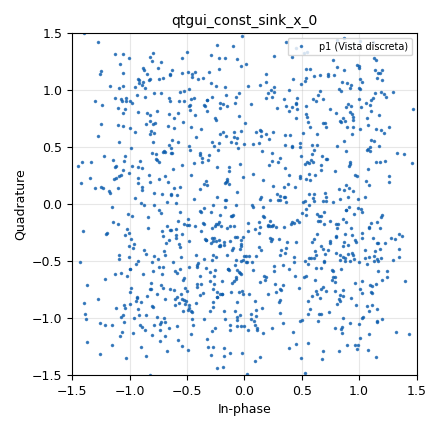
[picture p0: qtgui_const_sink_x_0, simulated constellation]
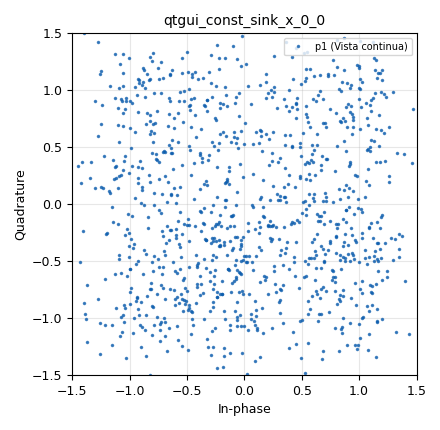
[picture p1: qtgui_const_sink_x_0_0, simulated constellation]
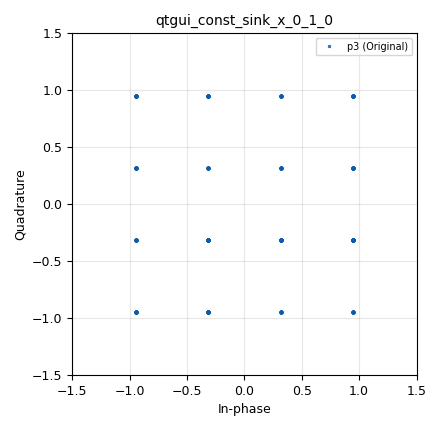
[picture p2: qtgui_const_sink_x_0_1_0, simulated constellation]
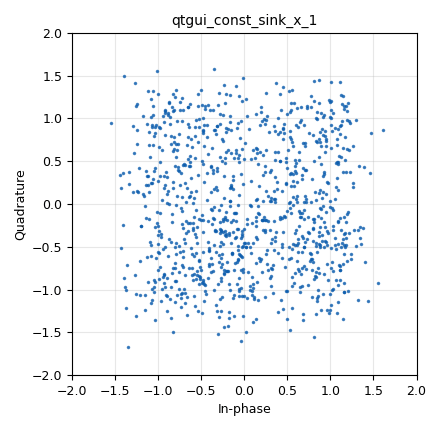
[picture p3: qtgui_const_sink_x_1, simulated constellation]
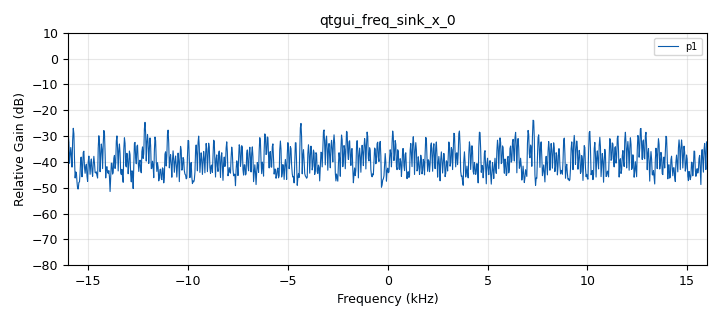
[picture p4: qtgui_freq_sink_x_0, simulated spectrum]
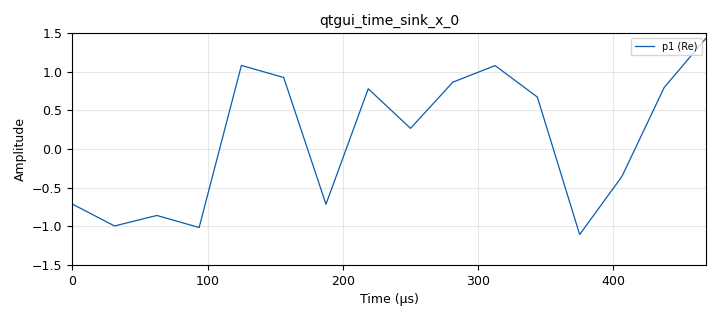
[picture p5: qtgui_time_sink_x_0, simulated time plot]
options:
  parameters:
    author: Homero Ortega Boada
    description: Lo máximo para practicar el tema de Filtro Coseno Alzado
    generate_options: qt_gui
    id: top_block
    output_language: python
    title: top_block
  states: {}

blocks:
- name: BW_filtro
  id: variable_qtgui_range
  parameters:
    gui_hint: 0,0,1,1
    start: '0'
    step: Fmax/100
    stop: Fmax
    value: Fmax
  states: {state: disabled}
- name: Delay_eye
  id: variable_qtgui_range
  parameters:
    gui_hint: 3,0,1,1
    label: Centering the Eye
    rangeType: int
    start: '0'
    step: '1'
    stop: Sps-1
    value: '0'
  states: {}
- name: EbN0max
  id: variable
  parameters:
    value: EsN0max-math.log10(bps)
  states: {}
- name: EbN0min
  id: variable
  parameters:
    value: EsN0min-math.log10(bps)
  states: {}
- name: EsN0max
  id: variable
  parameters:
    value: '25.'
  states: {}
- name: EsN0min
  id: variable
  parameters:
    value: '-5.'
  states: {}
- name: Fmax
  id: variable
  parameters:
    value: samp_rate/2
  states: {}
- name: M
  id: variable
  parameters:
    value: len(constelacion )
  states: {}
- name: MaxCount
  id: variable
  parameters:
    value: int(1e7)
  states: {state: disabled}
- name: MaxErrors
  id: variable
  parameters:
    value: '1000'
  states: {state: disabled}
- name: N_snr
  id: variable
  parameters:
    value: '16'
  states: {}
- name: Pn
  id: variable_qtgui_range
  parameters:
    gui_hint: 2,0,1,1
    label: Potencia del ruido
    start: '0'
    step: 1/100
    stop: '1'
    value: '0.05'
  states: {state: disabled}
- name: Rb
  id: variable
  parameters:
    value: Rs*bps
  states: {}
- name: Rs
  id: variable
  parameters:
    value: '32000'
  states: {}
- name: Sps
  id: variable
  parameters:
    value: '1'
  states: {}
- name: Timing
  id: variable_qtgui_range
  parameters:
    gui_hint: menu@4:1,0,1,1
    label: Timing
    rangeType: int
    start: '0'
    step: '1'
    stop: Sps-1
    value: '0'
  states: {state: disabled}
- name: beta
  id: variable_qtgui_range
  parameters:
    gui_hint: 1,0,1,1
    label: beta
    start: '0'
    step: 1/100
    stop: '1'
    value: '1'
  states: {state: disabled}
- name: bps
  id: variable
  parameters:
    value: int(math.log(M,2))
  states: {}
- name: constelacion
  id: variable
  parameters:
    value: digital.constellation_16qam().points()
  states: {}
- name: h
  id: variable
  parameters:
    value: '[1]*Sps'
  states: {state: disabled}
- name: h
  id: variable
  parameters:
    value: wform.rcos(Sps,ntaps,beta)
  states: {state: disabled}
- name: h
  id: variable
  parameters:
    value: wform.rrcos(Sps,ntaps,beta)
  states: {state: disabled}
- name: ntaps
  id: variable
  parameters:
    value: 16*Sps
  states: {}
- name: retardo_propag
  id: variable_qtgui_range
  parameters:
    gui_hint: menu@4:0,0,1,1
    label: retardo_propag
    rangeType: int
    start: '0'
    step: '1'
    stop: Sps*ntaps
    value: '0'
  states: {}
- name: samp_rate
  id: variable
  parameters:
    value: Rs*Sps
  states: {}
- name: E3TRadio_Zero_Order_Hold_0
  id: E3TRadio_Zero_Order_Hold
  parameters:
    k: bps
  states: {state: disabled}
- name: E3TRadio_e_BERtool_0_0
  id: E3TRadio_e_BERtool
  parameters:
    N: N_snr*bps
  states: {state: disabled}
- name: analog_random_source_x_0
  id: analog_random_source_x
  parameters:
    max: '2'
    min: '0'
    num_samps: '1000'
    repeat: 'True'
    type: byte
  states: {}
- name: b_demod_constelacion_cb_0
  id: b_demod_constelacion_cb
  parameters:
    Constelacion: constelacion
  states: {}
- name: b_diezmador_ff_0
  id: b_diezmador_ff
  parameters:
    Paso: bps
  states: {state: disabled}
- name: blocks_char_to_float_0
  id: blocks_char_to_float
  parameters:
    scale: '1'
  states: {}
- name: blocks_char_to_float_0_0
  id: blocks_char_to_float
  parameters:
    scale: '1'
  states: {}
- name: blocks_char_to_float_0_0_0
  id: blocks_char_to_float
  parameters:
    scale: '1'
  states: {}
- name: blocks_char_to_float_0_1
  id: blocks_char_to_float
  parameters:
    scale: '1'
  states: {}
- name: blocks_complex_to_float_0
  id: blocks_complex_to_float
  parameters: {}
  states: {}
- name: blocks_delay_1_0
  id: blocks_delay
  parameters:
    delay: retardo_propag
    type: complex
  states: {}
- name: blocks_delay_1_0_0
  id: blocks_delay
  parameters:
    delay: retardo_propag
    type: byte
  states: {}
- name: blocks_delay_1_0_0_0
  id: blocks_delay
  parameters:
    delay: retardo_propag*bps
    type: byte
  states: {}
- name: blocks_float_to_int_0
  id: blocks_float_to_int
  parameters:
    scale: '1'
  states: {state: disabled}
- name: blocks_int_to_float_0
  id: blocks_int_to_float
  parameters:
    scale: '1'
  states: {state: disabled}
- name: blocks_nlog10_ff_0_0
  id: blocks_nlog10_ff
  parameters:
    k: '0'
  states: {state: disabled}
- name: blocks_nlog10_ff_0_1
  id: blocks_nlog10_ff
  parameters:
    k: '0'
    n: '1'
    vlen: N_snr
  states: {}
- name: blocks_null_sink_0
  id: blocks_null_sink
  parameters:
    type: byte
  states: {}
- name: blocks_pack_k_bits_bb_0
  id: blocks_pack_k_bits_bb
  parameters:
    k: '8'
  states: {}
- name: blocks_packed_to_unpacked_xx_0
  id: blocks_packed_to_unpacked_xx
  parameters:
    bits_per_chunk: bps
    endianness: gr.GR_MSB_FIRST
    type: byte
  states: {}
- name: blocks_stream_to_vector_0_0
  id: blocks_stream_to_vector
  parameters:
    num_items: N_snr
    type: float
  states: {state: disabled}
- name: blocks_unpack_k_bits_bb_0
  id: blocks_unpack_k_bits_bb
  parameters:
    k: '8'
  states: {}
- name: blocks_unpacked_to_packed_xx_0
  id: blocks_unpacked_to_packed_xx
  parameters:
    bits_per_chunk: bps
    endianness: gr.GR_MSB_FIRST
    type: byte
  states: {}
- name: digital_chunks_to_symbols_xx_0
  id: digital_chunks_to_symbols_xx
  parameters:
    dimension: '1'
    in_type: byte
    out_type: complex
    symbol_table: constelacion
  states: {}
- name: epy_block_0
  id: epy_block
  parameters:
    _source_code: |
      import numpy as np
      from gnuradio import gr

      class inversedB(gr.sync_block):  

          def __init__(self, ): 
              gr.sync_block.__init__(
                  self,
                  name='e_inversedB_ff',
                  in_sig=[np.float32],
                  out_sig=[np.float32]
              )

          def work(self, input_items, output_items):
              x=input_items[0]
              y=output_items[0]
              y[:]=np.power(10,x)
              return len(y)
  states: {}
- name: epy_block_1
  id: epy_block
  parameters:
    B: Rs
    EsN0max: EsN0max
    EsN0min: EsN0min
    N: N_snr
    Rs: Rs
    _source_code: "import numpy\nimport numpy as np\nimport random\nimport math\nfrom gnuradio import gr\n\nclass e_canal_BER(gr.sync_block):\n    \"\"\"\nEs un canal AWGN (Additive White Gaussian Noise, en banda base), Recibe la envolvente compleja de una senal con modulacion digital. \nEl bloque tiene dos salidas: out0, out1. En out0 entrega la misma senal recibida pero con ruido blanco gausiano aditivo con \ndiferentes valores de potencia que corresponden a diferentes valores Es/No; en out1 entrega un valor de Es/No aplicado a cada muestra de out0. \nEste bloque se diferencia de otros bloques tradicionales de canal AWGN en lo siguiente: \n- Tiene internamente una funcion que mide la potencia promedio de la senal entrante Ps, de modo que puede calcular Es=Ps/Rs; \n- Al ir variando la potencia del ruido Pn se logra variar la relacion Es/No para que tome N posibles valores entre EsN0min y EsN0max. \n- Con eso ha completado el primer ensayo para que otro sea el bloque que calcule la Curva de BER. \n- Pero alli no para, sino que sigue realizando tantos ensayos como lo permita el tiempo de simulacion, para que el bloque que calcula la Curva de BER la pueda ir perfeccionando cada vez mas.\n\nDatos de configuracion del bloque:\nN: Es el numero de puntos discretos que va a tener la curva de BER. Tambien corresponde al numero de valores que tomará la relacion Es/No\nEsN0min: El minimo valor a tener en cuenta para Es/No\nEsN0max: El maximo valor a tener en cuenta para Es/No\nRs: es la rata de simbolos.\nB: Es una caracteristica de la senal entrante, corresponde a la frecuencia de muestreo de la señal entrante y puede ser mayor o igual a Rs. \nEs: es la energia de un simbolo\n\nSenales de entrada:\nIn0: Envolvente compleja de señal con modulacion digital.\n\nSenales de salida: \nout0: es la salida del canal, es decir, la misma señal entrante pero a la cual se le ha sumado un ruido para satisfacer una determinado valor para la relación Es/No\nout1: Es el valor Es/No aplicado a la salida actual. Pero ese valor es entregado de manera indirecta, en realidad out1 toma valores entre 0 y N-1.\n      Internamente hay un vector EsNodB que tiene N valores entre EsN0min y EsN0max. Entonces podemos hablar de EsNodB[0], EsNodB[1],.., EsNodB[N-1]\n      Pues bien, si out1=6, se refiere al sexto valor ede EsNodB, osea a EsNodB[6].\n\nAlgunas variables internas son:\nNo: es la Densidad espectral del potencia del ruido blanco.\nSNR-Db: es la relacion senal a ruido en dB\n\nNOTA IMPORTANTE: \n* Nos preguntamos si este bloque no deberia llamarse e_canal_BER, pues no maneja bits, ni relacion alguna con ellos, solo simbolos. El nombre mas apropiado seria e_canal_EsN0\n* Este bloque no conoce el numero de bits por simbolo, por lo tanto no puede determinar la relacion Eb/No y lo que calcula es la BER con respecto a Es/No.\n* La Envolvente compleja puede tener varias muestras por simbolo (Sps), por ejemplo cuando ha pasado por un bloque de Wave Forming, por ello SampRate puede ser mayor o igual a Rs. SampRate=Rs*Sps. El problema es que en este caso, la salida out0 tendra tambien Sps valores por simbolo, lo cual debe ser tenido en cuenta por los bloques que usen esta senal.\n* Es es calculado como: Es = Ps x Ts, donde Ps es la potencia promedio de la senal entrante (se mide internamente) y Ts es la duracion de cada simbolo o Ts = 1 / Rs. Entendemos que eso implica imaginar que los simbolos tienen forma rectangular, lo cual puede ser valido cuando la senal entrante trae modulacion digital basada en puntos de constelacion como es el caso de: BPSK, QPSK, MPSK, MQAM. En otras palabras, es una idealizacion pensada en una herramienta de analisis de Curvas de BER para comparar diferentes tipos de modulacion en condiciones similares.\n\nPARA CORREGIR: este bloque no debria llamarse e_canal_BER sino canal_BER_cc\n\"\"\"\n    def __init__(self, N=8, EsN0min=0, EsN0max=16,B=100,Rs=1):  # only default arguments here\n        gr.sync_block.__init__(\n        self,\n        name='e_EsNo_Channel',\n        in_sig=[np.complex64],\n        out_sig=[np.complex64, np.int32])\n\n        # Npoints: Numero de puntos de la curva de SER\n        # Ntrials: es un vector que contiene el numero de ensayos a aplicar\n        # a cada punto de la curva SER. Pero los ensayos no están dados en\n        # número de muestras sino en número de tramas de L muestras\n        # itrial: es el ensayo actual\n        # self.ipoint: el punto actual de la curva\n        # Calc_v: velocidad de calculo. Entre mas pequeno la curva de BER se vera cambiando de manera mas dinamica\n        # pero tendremos mayor desgaste de tiempo para obtener la curva final.\n        Calc_v=1.5\n        self.Npoints = N\n        self.B=B\n        self.Rs=Rs\n        self.EsN0dB=np.linspace(EsN0min,EsN0max,N)\n        self.Ntrials=np.round(np.power(Calc_v,np.arange(N)))\n        self.ipoint=0\n        self.itrial=0\n     \n    def work(self, input_items, output_items):\n\n        # calculo de la varianza (potencia promedio normalizada) de la senal entrante\n        L=len(input_items[0])\n        Pin=np.mean(np.absolute(input_items[0])**2)\n\n        ###############################################################  \n        ##  Aqui es donde esta el mehoyo y se puede optimizar mejor  ##\n        ##  Algo que se podria hacer es que le de mas atencion a los ## \n        ##  valores altos de Es/No que es donde es mas dificil de ob-##\n        ##  tener la BER. Al parecer la forma facil de hacerlo es    ##\n        ##  hacer que el vector EsN0dB vaya cambiando, ya que es     ##\n        ##  estatico y es el que define que valores de EsN0dB usar   ##\n        ## Nota: a veces se nos da por creer que debemos entregar un \n        ## vector o stream que lleva N muestras consecutivas, pero   ##\n        ## no es así, sino que cada muestra que sale lleva una espe- ##\n        ## de etiqueta que dice cual es su puesto dentro de los N    ##\n        ## valores discretos de la curva de BER, esa etiqueta es la  ##\n        ## sale por la salida out1, porque a cada muestra en out0,   ##\n        ## le corresponde una en out1.                               ##\n        ## Quizá necesitamos incluir un retardador para que si los   ##\n        ## bits han sufrido un retardo con respecto a la señal en el ##\n        ## canal esto sea tenido en cuenta.\n        ## Supongo que ya tenemos un valor fijo para L=N nos liberaremos\n        ## de los for e if de abajo                                  ##\n        ###############################################################\n\n        ##################################################################\n        ## En realidad lo unico que hay que hacer agregar ruido a la    ##\n        ## senal entrante para que salga por output_items[0] y poder    ##\n        ## indicar, por output_items[0], el punto de la curva que le    ##\n        ## corresponde                                                  ##\n        ##################################################################\n        output_items[0][:] = input_items[0]+vec_noise_c(L,self.EsN0dB[self.ipoint], Pin,self.Rs,self.B)\n        output_items[1][:] = [self.ipoint]*L # porque ipoint no ha cambiado en la trama L \n#        print(\"ipoint= \",self.ipoint)\n#        print(\"output1= \", output_items[1])\n\n        ##############################################################\n        ## seccion donde se programa el salto a un nivel mayor de   ##\n        ## ruido a inyectar a la señal                              ##\n        ##############################################################\n        # ya sabemos que los if no son deseables, pero tengase en cuenta\n        # que no lo estamos usando para cada muestra, sino para cada\n        # trama de L muestras. Podemos cambiarlo por while una vez pase\n        # todas las pruebas\n        if self.itrial < self.Ntrials[self.ipoint]-1: \n            self.itrial += 1\n        else:\n            # reseteamos el contador de ensayos interno. No nos importa\n            # porque nuestro bloque no calcula promedios, solo suma ruido\n            # y senala a que punto de la curva corresponde. Ahora pasamos\n            # al siguiente punto de la curva\n            self.itrial=0\n            if self.ipoint < self.Npoints-1:\n                self.ipoint += 1\n            else:\n                self.ipoint=0\n        return len(output_items[0])\n\n#############################################################################\n## calculo de una muestra de ruido\n## Rb: Rata de simbolos\n## B: Es el ancho de banda pasobanda que va a ocupar el ruido blanco, que no\n##    no es otra cosa que 2 veces el ancho de banda que tiene la envolvente\n##    compleja del ruido blanco que estamos generando. Estamos considerando que\n##    B es igual a la frecuencia de muestreo de la senal\n## N: es el numero de elementos en el vector\n## P_s: es la varianza (potencia promedio) de la senal entrante. \n## SNR_dB: es la relacion senal a ruido en dB del ruido respecto a P_signal\n#############################################################################\n\ndef vec_noise_c(N, EsN0_dB,P_s,Rs,B):\n\n    EsN0=pow(10.,EsN0_dB/10.) \n    SNR=EsN0*Rs/B\n    P_n = P_s/SNR  # la potencia del ruido\n    Vrms = math.sqrt(P_n)\n#    print(\"Vrms= \",Vrms)\n    # random.normal() pide la desviacion standard que es el mismo Valor RMS\n    # Vrms es el Valor RMS de la Envolvente compleja del ruido, pero la vamos\n    # a generar como un ruido real mas un ruido imaginario. Pero esas dos\n    # senales tienen un valor RMS un tanto diferente: Vrms_q=Vrms/math.sqrt(2.) \n    Vrms_q= [Vrms/math.sqrt(2.)]*N # Notese que Vrms_q es un vector\n    # print(\"Vrms_q= \",Vrms_q)\n    n=np.random.normal(0.,Vrms_q)+np.random.normal(0.,Vrms_q)*1.j\n    return n\n\n\n\n"
  states: {}
- name: epy_block_2
  id: epy_block
  parameters:
    N: N_snr
    _source_code: "import numpy as np\nimport random\nimport math\nimport numpy\nfrom gnuradio import gr\n\nclass e_BERtool(gr.sync_block):\n\n    \"\"\"\nCalcula la curva de SER (Symbol Error Ratio) o la Curva BER (Bit Error Ratio). Para lograrlo, por las 3 entradas in0, in1, in2 espera hasta que hallan llegado N muestras, con lo cual puede obtener una primera version de la curva de BER (o de SER) de N muestras. Esa curva de BER (o de SER) se va perfeccionando en el tiempo, ya que lo anterior se repite una y otra vez, tanto como lo permita el tiempo que dure corriendo el flujograma, con lo cual va recalculando la curva de BER (o de SER) para que sea cada vez mas perfecta. \n\nSenales de entrada:\nin0: El numero del punto de la BER que esta siendo atendido en el momento, el cual corresponde a un determinado valor de Es/No. Pero en realidad este bloque desconoce Es/No y solo le interesa conocer cual es el numero del punto a atender  \nin1: es la señal de bits (o de simbolos emitidos), osea, aquellos que están antes del canal\nin2: Es la señal de los bits recibidos (o de simbolos), después de pasar por un canal \n\nSenal de salida\nPuede ser vista como una senal que cada N muestras representa la actualizacion de la curva de BER. La idea es convertirla en un vector de N muestras y graficarla mediante algo asi como un \"QT GUI vector Sink\" \n\nNOTA IMPORTANTE:\n* El bloque e_canal_BER es el que se ha estado usando para generar la senal que entra por in0. Las limitaciones que eso genera son las siguientes:\n   ** El canal e_canal_BER esta pensado para llevar envolvente compleja, es decir simbolos. Por lo tanto, lo que realmente se está obteniendo en una Curva de SER. Convertir eso a Curva de BER puede que no sea tan facil, necesitaria no contar con que en in1 e in2 esten las senales de bits en vez de simbolos, sino que habria que ajustar la senal destinada a la entrada in0 para que hacer que por cada bit haya un valor de Es/No o de Eb/No\n   ** El bloque e_canal_BER lo que entrega es la relacion Es/No.\n   ** Convertir Es/No a Eb/No es posible pero como parte de un flujograma donde se conozca el numero de bits por simbolo (Bps), teniendo en cuenta que, en términos lineales, Eb=Es/Bps\n   ** La manera en que esta hecho el bloque e_canal_BER hace que si el numero de muestras por simbolo es mayor a 1 (Sps>1), la senal Es/No sale con Sps valores por simbolo. En ese caso se requeriria aplicar algun tipo de mejora ya que nuestro bloque supone que solo hay una muestra Es/No (o Es/No) por cada muestra de senal en in1 e in2.\n* las senales in1 y in2 pueden ser bits o simbolos. En el segundo caso es el que hemos usado mas, ya que las senales in1 e in2 son de tipo M-PAM. Por eso, lo que hemos estado calculando es Curva de SER. Se puede pasar facilmente a Curvas de BER, si a los bits se les aplica de-M-PAM.\n\nPARA CORREGIR: Este bloque no deberia llamarme e_BERtool, sino BERtool_if\n \n\"\"\"\n\n    ############################################################################################\n    ##  Constructor del bloque                                                                ##\n    ############################################################################################\n\n    def __init__(self, N=16):  \n        gr.sync_block.__init__(\n        self,\n        name='v_BERtool',\n        in_sig=[np.int32, np.int8, np.int8],\n        out_sig=[(np.float32,N)])\n\n        # N es el numero de puntos de la curva de SER a calcular\n        # self.errores = np.zeros(self.N)\n        # count: cuenta el numero de muestras que ya han sido procesadas para cada punto de la BER\n        # SER: es la memoria de la ultima curva calculada\n\n        # self.count=0. # DUDA: PARECE QUE HAY ERROR. DEBERIA HABER UN CONTADOR POR CADA k\n        # self.count=np.zeros(self.N)\n\n        self.N=N \n        self.errores = np.float64(np.ones(self.N))\n        self.count=np.uint64(np.ones(self.N))\n        #self.SER=np.ones(self.N)\n        self.SER=[1e-12]*N\n        #self.ipointi=0 \n\n    ############################################################################################\n    ##  Lo de arriba es solo el constructor del bloque). Aqui comienza el verdadero cdigo     ##\n    ############################################################################################\n\n    def work(self, input_items, output_items):\n        in0=input_items[1] \n        in1=input_items[2] \n        \n        # L: es el tamano del vector de entrada. \n        # i: es el punto actual de los datos entrantes\n        # ipoint: es el punto actual de la SER\n        # count: vector de contadores para cada punto de la curva\t\t\n        L=len(in0)\n\n        # Se recalcula la curva SER. \n        for i in range(0,L):\n            ipoint=input_items[0][i] \n            self.errores[ipoint] += int(in0[i]!=in1[i])\n            self.SER[ipoint]=self.errores[ipoint]/self.count[ipoint]\n            self.count[ipoint] = self.count[ipoint]+1\n\n        # La salida es simplemente la curva de SER\n        output_items[0][:]=self.SER\n        return len(output_items[0])\n\n"
  states: {}
- name: epy_block_4
  id: epy_block
  parameters:
    _source_code: "\"\"\"\nEmbedded Python Blocks:\n\nEach time this file is saved, GRC will instantiate the first class it finds\nto get ports and parameters of your block. The arguments to __init__  will\nbe the parameters. All of them are required to have default values!\n\"\"\"\n\nimport numpy as np\nfrom gnuradio import gr\n\n\nclass blk(gr.interp_block):\n    def __init__(self, k=2):  \n        gr.interp_block.__init__(\n            self,\n            name='e_zero_order_hold_ii',\n            in_sig=[np.int32],\n            out_sig=[np.int32], interp=k\n        )\n        self.k=k\n\n    def work(self, input_items, output_items):\n        in0 = input_items[0]\n        out = output_items[0]\n        j = 0\n        for i in range (len(in0)):\n            for x in range(self.k):\n                out[j] =  in0[i]\n                j += 1\n        return len(output_items[0])\n\n"
    k: bps
  states: {}
- name: fec_ber_bf_0
  id: fec_ber_bf
  parameters:
    test_mode: 'False'
  states: {}
- name: import_0
  id: import
  parameters:
    imports: import math
  states: {}
- name: import_0_0
  id: import
  parameters:
    imports: import random
  states: {}
- name: menu
  id: qtgui_tab_widget
  parameters:
    gui_hint: 4,0,1,1
    label0: Time
    label1: PSD
    label2: Eye Diagram
    label3: Constellation
    label4: Timing
    label5: M-PAM
    label6: Bits
    label7: BER SER Curve
    num_tabs: '8'
  states: {}
- name: qtgui_const_sink_x_0
  id: qtgui_const_sink_x
  parameters:
    gui_hint: menu@3:0,0,1,1
    label1: p1 (Vista discreta)
    size: '1024'
    type: complex
    xmax: '1.5'
    xmin: '-1.5'
    ymax: '1.5'
    ymin: '-1.5'
  states: {}
- name: qtgui_const_sink_x_0_0
  id: qtgui_const_sink_x
  parameters:
    color1: '"magenta"'
    gui_hint: menu@3:0,1,1,1
    label1: p1 (Vista continua)
    marker1: '-1'
    size: '1024'
    style1: '1'
    type: complex
    width1: '3'
    xmax: '1.5'
    xmin: '-1.5'
    ymax: '1.5'
    ymin: '-1.5'
  states: {}
- name: qtgui_const_sink_x_0_1_0
  id: qtgui_const_sink_x
  parameters:
    gui_hint: menu@3:1,1,1,1
    label1: p3 (Original)
    size: '1024'
    type: complex
    xmax: '1.5'
    xmin: '-1.5'
    ymax: '1.5'
    ymin: '-1.5'
  states: {}
- name: qtgui_const_sink_x_1
  id: qtgui_const_sink_x
  parameters:
    gui_hint: menu@4:2,0,1,1
    size: '1024'
    type: complex
  states: {}
- name: qtgui_freq_sink_x_0
  id: qtgui_freq_sink_x
  parameters:
    average: '0.05'
    bw: samp_rate
    fc: '0'
    fftsize: '1024'
    gui_hint: menu@1:0,0,1,1
    label1: p1
    type: complex
    width1: '3'
    ymin: '-80'
  states: {}
- name: qtgui_number_sink_0
  id: qtgui_number_sink
  parameters:
    graph_type: qtgui.NUM_GRAPH_HORIZ
    gui_hint: menu@6:1,0,1,1
    name: BER
    type: float
  states: {}
- name: qtgui_time_sink_x_0
  id: qtgui_time_sink_x
  parameters:
    gui_hint: menu@0:1,0,1,1
    label1: p1 (Re)
    size: 16*Sps
    srate: samp_rate
    type: float
    width1: '3'
    ymax: '1.5'
    ymin: '-1.5'
  states: {}
- name: qtgui_time_sink_x_0_0
  id: qtgui_time_sink_x
  parameters:
    color1: red
    gui_hint: menu@0:2,0,1,1
    label1: p1 (Im)
    size: 16*Sps
    srate: samp_rate
    type: float
    width1: '3'
    ymax: '1.5'
    ymin: '-1.5'
  states: {}
- name: qtgui_time_sink_x_1
  id: qtgui_time_sink_x
  parameters:
    color3: magenta
    gui_hint: menu@4:3,0,1,2
    label1: t3 (RE)
    label2: t3 (Im)
    label3: r3 (Re)
    label4: r3 (Im)
    marker1: '0'
    marker2: '0'
    marker3: '0'
    marker4: '0'
    nconnections: '2'
    size: '32'
    srate: Rs
    stemplot: 'True'
    type: complex
    width1: '3'
    width2: '3'
    width3: '3'
    width4: '3'
    ymax: '1.5'
    ymin: '-1.5'
  states: {}
- name: qtgui_time_sink_x_2
  id: qtgui_time_sink_x
  parameters:
    gui_hint: menu@5:4,0,1,1
    label1: t4
    label2: r4
    marker1: '0'
    marker2: '0'
    nconnections: '2'
    size: '32'
    srate: Rs
    stemplot: 'True'
    type: float
    width1: '3'
    width2: '3'
    ymax: M
  states: {}
- name: qtgui_time_sink_x_2_0
  id: qtgui_time_sink_x
  parameters:
    gui_hint: menu@6:4,0,1,1
    label1: t4
    label2: r4
    marker1: '0'
    marker2: '0'
    nconnections: '2'
    size: 32*bps
    srate: Rb
    stemplot: 'True'
    type: float
    width1: '3'
    width2: '3'
    ymax: '1.5'
    ymin: '-0.5'
  states: {}
- name: qtgui_vector_sink_f_0_0
  id: qtgui_vector_sink_f
  parameters:
    alpha1: '1'
    gui_hint: menu@7:1,0,1,1
    label1: '"SER"'
    name: '"Curva de BER"'
    showports: 'True'
    vlen: N_snr
    width1: '4'
    x_axis_label: '"Eb/N0 [dB]"'
    x_start: EbN0min
    x_step: (EbN0max-EbN0min)/float(N_snr)
    x_units: '"dB"'
    y_axis_label: '"logPe"'
    ymax: '0'
    ymin: '-8'
  states: {}
- name: virtual_sink_0
  id: virtual_sink
  parameters:
    stream_id: p1
  states: {}
- name: virtual_sink_0_0_0
  id: virtual_sink
  parameters:
    stream_id: t3
  states: {}
- name: virtual_sink_0_0_0_0
  id: virtual_sink
  parameters:
    stream_id: r3
  states: {}
- name: virtual_sink_0_0_0_0_0
  id: virtual_sink
  parameters:
    stream_id: r4
  states: {}
- name: virtual_sink_0_0_0_0_0_0
  id: virtual_sink
  parameters:
    stream_id: r5
  states: {}
- name: virtual_sink_0_0_0_0_0_1
  id: virtual_sink
  parameters:
    stream_id: r4a
  states: {}
- name: virtual_sink_0_0_0_1
  id: virtual_sink
  parameters:
    stream_id: t4
  states: {}
- name: virtual_sink_0_0_0_1_0
  id: virtual_sink
  parameters:
    stream_id: t5
  states: {}
- name: virtual_sink_0_0_0_1_1
  id: virtual_sink
  parameters:
    stream_id: t4a
  states: {}
- name: virtual_source_0
  id: virtual_source
  parameters:
    stream_id: p1
  states: {}
- name: virtual_source_0_0_0
  id: virtual_source
  parameters:
    stream_id: t3
  states: {}
- name: virtual_source_0_0_0_0
  id: virtual_source
  parameters:
    stream_id: t4
  states: {}
- name: virtual_source_0_0_0_0_0
  id: virtual_source
  parameters:
    stream_id: r4
  states: {}
- name: virtual_source_0_0_0_0_0_0
  id: virtual_source
  parameters:
    stream_id: r5
  states: {}
- name: virtual_source_0_0_0_0_0_1
  id: virtual_source
  parameters:
    stream_id: p3
  states: {}
- name: virtual_source_0_0_0_0_0_1_0
  id: virtual_source
  parameters:
    stream_id: p3
  states: {state: disabled}
- name: virtual_source_0_0_0_0_1
  id: virtual_source
  parameters:
    stream_id: t5
  states: {}
- name: virtual_source_0_0_0_0_3
  id: virtual_source
  parameters:
    stream_id: r5
  states: {}
- name: virtual_source_0_0_0_0_3_0
  id: virtual_source
  parameters:
    stream_id: r5
  states: {state: disabled}
- name: virtual_source_0_1_0
  id: virtual_source
  parameters:
    stream_id: t3
  states: {}
- name: virtual_source_0_1_0_0
  id: virtual_source
  parameters:
    stream_id: r3
  states: {}
- name: virtual_source_0_1_0_3
  id: virtual_source
  parameters:
    stream_id: t5
  states: {}
- name: virtual_source_0_1_0_3_0
  id: virtual_source
  parameters:
    stream_id: t5
  states: {state: disabled}
- name: vs0_1_0
  id: virtual_sink
  parameters:
    stream_id: p3
  states: {}
- name: wform
  id: epy_module
  parameters:
    source_code: |
      import math
      import numpy
      #######################################################
      ##        Hecho por Homero Ortega Boada              ##
      ##        comdiguis@saber.uis.edu.co                 ##
      ##     Universidad Industrial de Santander           ##
      #######################################################

      #######################################################
      ##               Forma rectangular                   ##
      #######################################################                       
      def rect(Sps):
          return Sps*[1.,]

      #######################################################
      ##               Forma de Nyquist                    ##
      #######################################################                       
      def nyq(Sps,ntaps):
          n=numpy.linspace(-int(ntaps/2), int(ntaps/2-1),ntaps)
          h=numpy.sinc(n/Sps)
      #    return h/numpy.amax(h)
          return h
      #######################################################
      ##               Forma Coseno Alzado                 ##
      #######################################################                       
      def rcos(Sps,ntaps,beta):
          if beta==0:
              h=nyq(Sps,ntaps)
          else:
              h=ntaps*[0,]
              for n in range(ntaps):
                  k=n-ntaps/2. # esto es para que h[n] quede centrada en la mitad del vector
                  if abs(k)==Sps/(2.*beta):
                      h[n]=numpy.sinc(1./(2.*beta))*math.pi/4.
                  else:
                      h[n]=numpy.sinc(k/Sps)*math.cos(beta*k*math.pi/Sps)/(1.-(2.*beta*k/Sps)**2)                
          Amp=numpy.amax(h)
          return h/Amp
      #######################################################
      ##            Forma Raiz de Coseno Alzado            ##
      #######################################################                       

      def rrcos(Sps,ntaps,beta):
          if beta==0:
              h=nyq(Sps,ntaps)
          else:
              h=ntaps*[0,]
              beta4=4.*beta
              for n in range(ntaps):
                  k=n-ntaps/2. # esto es para que h[n] quede centrada en la mitad del vector
                  if k==0:
                      h[n]=1+beta*(4./math.pi-1.)
                  elif abs(k)==Sps/beta4:
                      ha=(1.+2./math.pi)*math.sin(math.pi/beta4)
                      hb=(1.-2./math.pi)*math.cos(math.pi/beta4)
                      h[n]=(ha+hb)*beta/math.sqrt(2.)
                  else:
                      ks=k/Sps
                      kspi=math.pi*ks
                      Num=math.sin(kspi*(1-beta))+beta4*ks*math.cos(kspi*(1+beta))
                      Den=kspi*(1.-(beta4*ks)**2)
                      h[n]=Num/Den                
          Amp=numpy.amax(h)
          return h/Amp
      ########################################################
      ##     Bipolar non return to zero level signal        ##
      ########################################################
      def B_NRZ_L(Sps):
          return Sps*[1.,]

      ########################################################
      ##  Forma sinc . Es la misma nyq() que aparece arriba ##
      ########################################################
      def sinc(Sps,ntaps):
          n=np.linspace(-int(ntaps/2), int(ntaps/2-1),ntaps)
          h=np.sinc(n/Sps)
          return h
      ########################################################
      ##              forma diente se sierra                ##
      ########################################################
      def saw(Sps):
          return np.linspace(0,Sps-1,Sps)	
      ########################################################
      #         Bipolar non return to zero signal           ##
      ########################################################
      def RZ(Sps):
          h=Sps*[1.,]
          Sps_m=int(Sps/2)
          h[Sps_m+1:Sps:1]=np.zeros(Sps-Sps_m)
          return h
  states: {state: disabled}

connections:
- [E3TRadio_Zero_Order_Hold_0, '0', blocks_float_to_int_0, '0']
- [E3TRadio_e_BERtool_0_0, '0', b_diezmador_ff_0, '0']
- [analog_random_source_x_0, '0', blocks_pack_k_bits_bb_0, '0']
- [analog_random_source_x_0, '0', virtual_sink_0_0_0_1_0, '0']
- [b_demod_constelacion_cb_0, '0', blocks_unpacked_to_packed_xx_0, '0']
- [b_demod_constelacion_cb_0, '0', virtual_sink_0_0_0_0_0, '0']
- [b_diezmador_ff_0, '0', blocks_nlog10_ff_0_0, '0']
- [blocks_char_to_float_0, '0', qtgui_time_sink_x_2, '0']
- [blocks_char_to_float_0_0, '0', qtgui_time_sink_x_2, '1']
- [blocks_char_to_float_0_0_0, '0', qtgui_time_sink_x_2_0, '1']
- [blocks_char_to_float_0_1, '0', qtgui_time_sink_x_2_0, '0']
- [blocks_complex_to_float_0, '0', qtgui_time_sink_x_0, '0']
- [blocks_complex_to_float_0, '1', qtgui_time_sink_x_0_0, '0']
- [blocks_delay_1_0, '0', qtgui_time_sink_x_1, '0']
- [blocks_delay_1_0_0, '0', blocks_char_to_float_0, '0']
- [blocks_delay_1_0_0_0, '0', blocks_char_to_float_0_1, '0']
- [blocks_delay_1_0_0_0, '0', fec_ber_bf_0, '0']
- [blocks_float_to_int_0, '0', E3TRadio_e_BERtool_0_0, '0']
- [blocks_int_to_float_0, '0', E3TRadio_Zero_Order_Hold_0, '0']
- [blocks_nlog10_ff_0_0, '0', blocks_stream_to_vector_0_0, '0']
- [blocks_nlog10_ff_0_1, '0', qtgui_vector_sink_f_0_0, '0']
- [blocks_pack_k_bits_bb_0, '0', blocks_packed_to_unpacked_xx_0, '0']
- [blocks_pack_k_bits_bb_0, '0', virtual_sink_0_0_0_1_1, '0']
- [blocks_packed_to_unpacked_xx_0, '0', digital_chunks_to_symbols_xx_0, '0']
- [blocks_packed_to_unpacked_xx_0, '0', virtual_sink_0_0_0_1, '0']
- [blocks_unpack_k_bits_bb_0, '0', blocks_null_sink_0, '0']
- [blocks_unpack_k_bits_bb_0, '0', virtual_sink_0_0_0_0_0_0, '0']
- [blocks_unpacked_to_packed_xx_0, '0', blocks_unpack_k_bits_bb_0, '0']
- [blocks_unpacked_to_packed_xx_0, '0', virtual_sink_0_0_0_0_0_1, '0']
- [digital_chunks_to_symbols_xx_0, '0', epy_block_1, '0']
- [digital_chunks_to_symbols_xx_0, '0', virtual_sink_0_0_0, '0']
- [epy_block_0, '0', qtgui_number_sink_0, '0']
- [epy_block_1, '0', b_demod_constelacion_cb_0, '0']
- [epy_block_1, '0', virtual_sink_0, '0']
- [epy_block_1, '0', virtual_sink_0_0_0_0, '0']
- [epy_block_1, '1', vs0_1_0, '0']
- [epy_block_2, '0', blocks_nlog10_ff_0_1, '0']
- [epy_block_4, '0', epy_block_2, '0']
- [fec_ber_bf_0, '0', epy_block_0, '0']
- [virtual_source_0, '0', blocks_complex_to_float_0, '0']
- [virtual_source_0, '0', qtgui_const_sink_x_0, '0']
- [virtual_source_0, '0', qtgui_const_sink_x_0_0, '0']
- [virtual_source_0, '0', qtgui_freq_sink_x_0, '0']
- [virtual_source_0_0_0, '0', qtgui_const_sink_x_0_1_0, '0']
- [virtual_source_0_0_0_0, '0', blocks_delay_1_0_0, '0']
- [virtual_source_0_0_0_0_0, '0', blocks_char_to_float_0_0, '0']
- [virtual_source_0_0_0_0_0_0, '0', blocks_char_to_float_0_0_0, '0']
- [virtual_source_0_0_0_0_0_0, '0', fec_ber_bf_0, '1']
- [virtual_source_0_0_0_0_0_1, '0', epy_block_4, '0']
- [virtual_source_0_0_0_0_0_1_0, '0', blocks_int_to_float_0, '0']
- [virtual_source_0_0_0_0_1, '0', blocks_delay_1_0_0_0, '0']
- [virtual_source_0_0_0_0_3, '0', epy_block_2, '2']
- [virtual_source_0_0_0_0_3_0, '0', E3TRadio_e_BERtool_0_0, '2']
- [virtual_source_0_1_0, '0', blocks_delay_1_0, '0']
- [virtual_source_0_1_0_0, '0', qtgui_const_sink_x_1, '0']
- [virtual_source_0_1_0_0, '0', qtgui_time_sink_x_1, '1']
- [virtual_source_0_1_0_3, '0', epy_block_2, '1']
- [virtual_source_0_1_0_3_0, '0', E3TRadio_e_BERtool_0_0, '1']

metadata:
  file_format: 1
